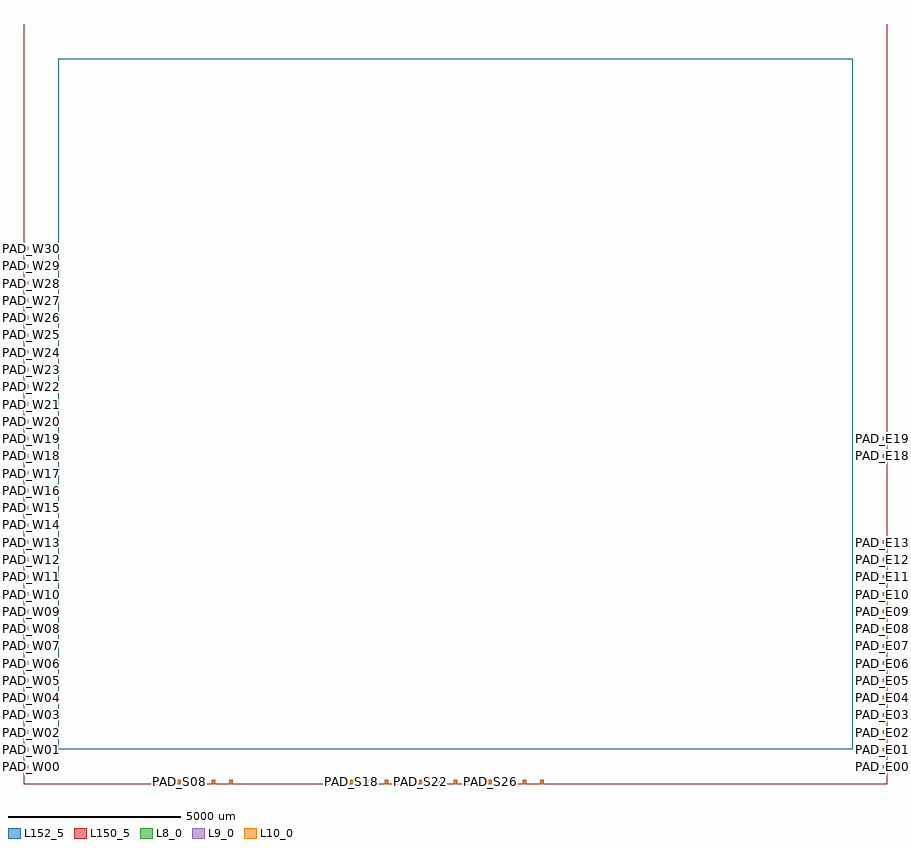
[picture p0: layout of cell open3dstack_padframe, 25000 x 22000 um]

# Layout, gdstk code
import gdstk
lib = gdstk.Library(unit=1e-6, precision=1e-09)
def R(c, l, rs):  # rectangles x0, y0, x1, y1
    for r in rs: c.add(gdstk.rectangle(r[:2], r[2:], *l))
def A(c, l, x, y, w, h, nx, ny, dx, dy):  # array of equal rectangles
    R(c, l, [(x+i*dx, y+j*dy, x+i*dx+w, y+j*dy+h) for i in range(nx) for j in range(ny)])
L8_0 = (8, 0)
L9_0 = (9, 0)
L10_0 = (10, 0)
L150_5 = (150, 5)
L152_5 = (152, 5)

open3dstack_padframe = lib.new_cell('open3dstack_padframe')
A(open3dstack_padframe, L8_0, 4450, 0, 100, 130, 4, 1, 500, 0)
A(open3dstack_padframe, L8_0, 9450, 0, 100, 130, 12, 1, 500, 0)
A(open3dstack_padframe, L8_0, 0, 450, 130, 100, 1, 31, 0, 500)
A(open3dstack_padframe, L8_0, 24870, 450, 130, 100, 1, 14, 0, 500)
R(open3dstack_padframe, L8_0, [(24870,9450,25000,9550), (24870,9950,25000,10050)])
A(open3dstack_padframe, L9_0, 4450, 0, 100, 130, 4, 1, 500, 0)
A(open3dstack_padframe, L9_0, 9450, 0, 100, 130, 12, 1, 500, 0)
A(open3dstack_padframe, L9_0, 0, 450, 130, 100, 1, 31, 0, 500)
A(open3dstack_padframe, L9_0, 24870, 450, 130, 100, 1, 14, 0, 500)
R(open3dstack_padframe, L9_0, [(24870,9450,25000,9550), (24870,9950,25000,10050)])
A(open3dstack_padframe, L10_0, 4450, 0, 100, 130, 4, 1, 500, 0)
A(open3dstack_padframe, L10_0, 9450, 0, 100, 130, 12, 1, 500, 0)
A(open3dstack_padframe, L10_0, 0, 450, 130, 100, 1, 31, 0, 500)
A(open3dstack_padframe, L10_0, 24870, 450, 130, 100, 1, 14, 0, 500)
R(open3dstack_padframe, L10_0, [(24870,9450,25000,9550), (24870,9950,25000,10050)])
R(open3dstack_padframe, L150_5, [(0,0,25000,10), (0,0,10,22000), (24990,0,25000,22000), (0,21990,25000,22000)])
R(open3dstack_padframe, L152_5, [(1000,1000,24000,1020), (1000,1000,1020,21000), (23980,1000,24000,21000), (1000,20980,24000,21000)])
open3dstack_padframe.add(gdstk.Label('PAD_S08', (4500,65), layer=54, texttype=3))
open3dstack_padframe.add(gdstk.Label('PAD_S09', (5000,65), layer=54, texttype=3))
open3dstack_padframe.add(gdstk.Label('PAD_S10', (5500,65), layer=54, texttype=3))
open3dstack_padframe.add(gdstk.Label('PAD_S11', (6000,65), layer=54, texttype=3))
open3dstack_padframe.add(gdstk.Label('PAD_S18', (9500,65), layer=54, texttype=3))
open3dstack_padframe.add(gdstk.Label('PAD_S19', (10000,65), layer=54, texttype=3))
open3dstack_padframe.add(gdstk.Label('PAD_S20', (10500,65), layer=54, texttype=3))
open3dstack_padframe.add(gdstk.Label('PAD_S21', (11000,65), layer=54, texttype=3))
open3dstack_padframe.add(gdstk.Label('PAD_S22', (11500,65), layer=54, texttype=3))
open3dstack_padframe.add(gdstk.Label('PAD_S23', (12000,65), layer=54, texttype=3))
open3dstack_padframe.add(gdstk.Label('PAD_S24', (12500,65), layer=54, texttype=3))
open3dstack_padframe.add(gdstk.Label('PAD_S25', (13000,65), layer=54, texttype=3))
open3dstack_padframe.add(gdstk.Label('PAD_S26', (13500,65), layer=54, texttype=3))
open3dstack_padframe.add(gdstk.Label('PAD_S27', (14000,65), layer=54, texttype=3))
open3dstack_padframe.add(gdstk.Label('PAD_S28', (14500,65), layer=54, texttype=3))
open3dstack_padframe.add(gdstk.Label('PAD_S29', (15000,65), layer=54, texttype=3))
open3dstack_padframe.add(gdstk.Label('PAD_E00', (24935,500), layer=54, texttype=3))
open3dstack_padframe.add(gdstk.Label('PAD_E01', (24935,1000), layer=54, texttype=3))
open3dstack_padframe.add(gdstk.Label('PAD_E02', (24935,1500), layer=54, texttype=3))
open3dstack_padframe.add(gdstk.Label('PAD_E03', (24935,2000), layer=54, texttype=3))
open3dstack_padframe.add(gdstk.Label('PAD_E04', (24935,2500), layer=54, texttype=3))
open3dstack_padframe.add(gdstk.Label('PAD_E05', (24935,3000), layer=54, texttype=3))
open3dstack_padframe.add(gdstk.Label('PAD_E06', (24935,3500), layer=54, texttype=3))
open3dstack_padframe.add(gdstk.Label('PAD_E07', (24935,4000), layer=54, texttype=3))
open3dstack_padframe.add(gdstk.Label('PAD_E08', (24935,4500), layer=54, texttype=3))
open3dstack_padframe.add(gdstk.Label('PAD_E09', (24935,5000), layer=54, texttype=3))
open3dstack_padframe.add(gdstk.Label('PAD_E10', (24935,5500), layer=54, texttype=3))
open3dstack_padframe.add(gdstk.Label('PAD_E11', (24935,6000), layer=54, texttype=3))
open3dstack_padframe.add(gdstk.Label('PAD_E12', (24935,6500), layer=54, texttype=3))
open3dstack_padframe.add(gdstk.Label('PAD_E13', (24935,7000), layer=54, texttype=3))
open3dstack_padframe.add(gdstk.Label('PAD_E18', (24935,9500), layer=54, texttype=3))
open3dstack_padframe.add(gdstk.Label('PAD_E19', (24935,10000), layer=54, texttype=3))
open3dstack_padframe.add(gdstk.Label('PAD_W00', (65,500), layer=54, texttype=3))
open3dstack_padframe.add(gdstk.Label('PAD_W01', (65,1000), layer=54, texttype=3))
open3dstack_padframe.add(gdstk.Label('PAD_W02', (65,1500), layer=54, texttype=3))
open3dstack_padframe.add(gdstk.Label('PAD_W03', (65,2000), layer=54, texttype=3))
open3dstack_padframe.add(gdstk.Label('PAD_W04', (65,2500), layer=54, texttype=3))
open3dstack_padframe.add(gdstk.Label('PAD_W05', (65,3000), layer=54, texttype=3))
open3dstack_padframe.add(gdstk.Label('PAD_W06', (65,3500), layer=54, texttype=3))
open3dstack_padframe.add(gdstk.Label('PAD_W07', (65,4000), layer=54, texttype=3))
open3dstack_padframe.add(gdstk.Label('PAD_W08', (65,4500), layer=54, texttype=3))
open3dstack_padframe.add(gdstk.Label('PAD_W09', (65,5000), layer=54, texttype=3))
open3dstack_padframe.add(gdstk.Label('PAD_W10', (65,5500), layer=54, texttype=3))
open3dstack_padframe.add(gdstk.Label('PAD_W11', (65,6000), layer=54, texttype=3))
open3dstack_padframe.add(gdstk.Label('PAD_W12', (65,6500), layer=54, texttype=3))
open3dstack_padframe.add(gdstk.Label('PAD_W13', (65,7000), layer=54, texttype=3))
open3dstack_padframe.add(gdstk.Label('PAD_W14', (65,7500), layer=54, texttype=3))
open3dstack_padframe.add(gdstk.Label('PAD_W15', (65,8000), layer=54, texttype=3))
open3dstack_padframe.add(gdstk.Label('PAD_W16', (65,8500), layer=54, texttype=3))
open3dstack_padframe.add(gdstk.Label('PAD_W17', (65,9000), layer=54, texttype=3))
open3dstack_padframe.add(gdstk.Label('PAD_W18', (65,9500), layer=54, texttype=3))
open3dstack_padframe.add(gdstk.Label('PAD_W19', (65,10000), layer=54, texttype=3))
open3dstack_padframe.add(gdstk.Label('PAD_W20', (65,10500), layer=54, texttype=3))
open3dstack_padframe.add(gdstk.Label('PAD_W21', (65,11000), layer=54, texttype=3))
open3dstack_padframe.add(gdstk.Label('PAD_W22', (65,11500), layer=54, texttype=3))
open3dstack_padframe.add(gdstk.Label('PAD_W23', (65,12000), layer=54, texttype=3))
open3dstack_padframe.add(gdstk.Label('PAD_W24', (65,12500), layer=54, texttype=3))
open3dstack_padframe.add(gdstk.Label('PAD_W25', (65,13000), layer=54, texttype=3))
open3dstack_padframe.add(gdstk.Label('PAD_W26', (65,13500), layer=54, texttype=3))
open3dstack_padframe.add(gdstk.Label('PAD_W27', (65,14000), layer=54, texttype=3))
open3dstack_padframe.add(gdstk.Label('PAD_W28', (65,14500), layer=54, texttype=3))
open3dstack_padframe.add(gdstk.Label('PAD_W29', (65,15000), layer=54, texttype=3))
open3dstack_padframe.add(gdstk.Label('PAD_W30', (65,15500), layer=54, texttype=3))

lib.write_gds('open3dstack_padframe.gds')
